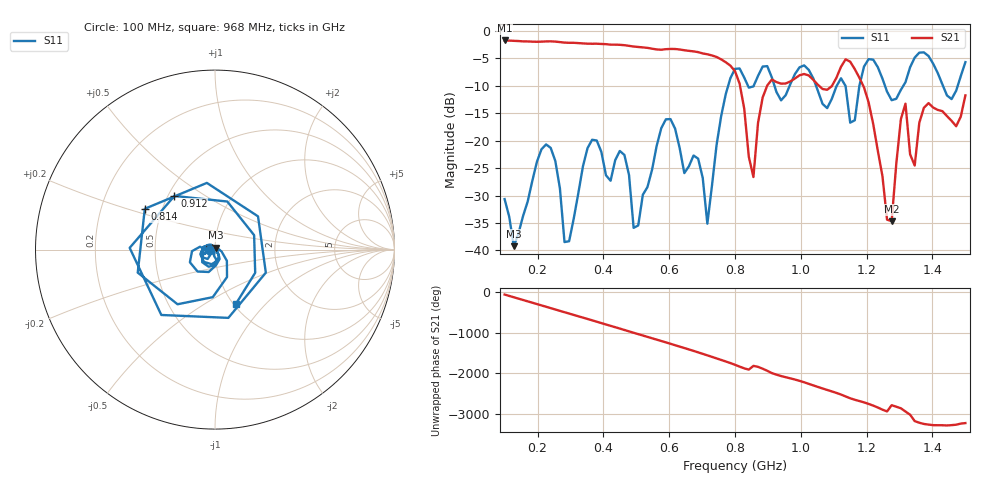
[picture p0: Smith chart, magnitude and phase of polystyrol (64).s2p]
! NanoVNA-App
! Date: 2025-09-26 09:42:23
! Start: 100MHz Stop: 1,5GHz Points: 101
! S-Parameter data: F S11 S21 S12 S22
# Hz S RI R 50
!  Frequency  S11_Real  S11_Imag  S21_Real  S21_Imag  S12_Real  S12_Imag  S22_Real  S22_Imag
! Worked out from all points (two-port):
!   101 points, 100 MHz to 1.5 GHz, reference 50 ohm
!   highest |S21| = -1.79 dB at 100 MHz (marker M1); lowest = -34.7 dB at 1.276 GHz (marker M2)
!   |S21| within 3 dB of the highest: start of sweep to 743.7 MHz
!   lowest |S11| = -39.2 dB at 128 MHz (marker M3), VSWR 1.02, Z = 50.3 + j1.06 ohm
!   |S11| at or under -10 dB: start of sweep to 779.4 MHz; 1.046 GHz to 1.11 GHz (63.57 MHz wide, 5.9 % of centre); 1.255 GHz to 1.312 GHz (56.28 MHz wide, 4.38 % of centre)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
!   S12 and S22 are empty: the file has one direction only
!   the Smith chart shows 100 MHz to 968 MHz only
!   S11 on the Smith chart (normalised r, x): 100 MHz: 0.94, -0.01; 814 MHz: 0.40, +0.23; 912 MHz: 0.54, +0.38; 968 MHz: 1.02, -0.70
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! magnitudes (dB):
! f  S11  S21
! 100 MHz  -30.7  -1.8
! 128 MHz  -39.2  -1.9
! 212 MHz  -21.6  -2.0
! 282 MHz  -38.5  -2.2
! 338 MHz  -24.7  -2.3
! 464 MHz  -22.6  -2.6
! 492 MHz  -35.9  -2.9
! 576 MHz  -17.7  -3.5
! 688 MHz  -23.3  -3.9
! 716 MHz  -35.1  -4.3
! 800 MHz  -7.0  -7.4
! 814 MHz  -6.9  -9.6
! 856 MHz  -10.1  -26.6
! 912 MHz  -8.5  -8.9
! 968 MHz  -9.8  -9.2
! 1.038 GHz  -8.7  -9.0
! 1.164 GHz  -16.3  -7.0
! 1.206 GHz  -5.2  -13.1
! 1.276 GHz  -12.7  -34.7
! 1.318 GHz  -9.4  -13.3
! 1.346 GHz  -4.9  -24.5
! 1.5 GHz  -5.7  -11.8
